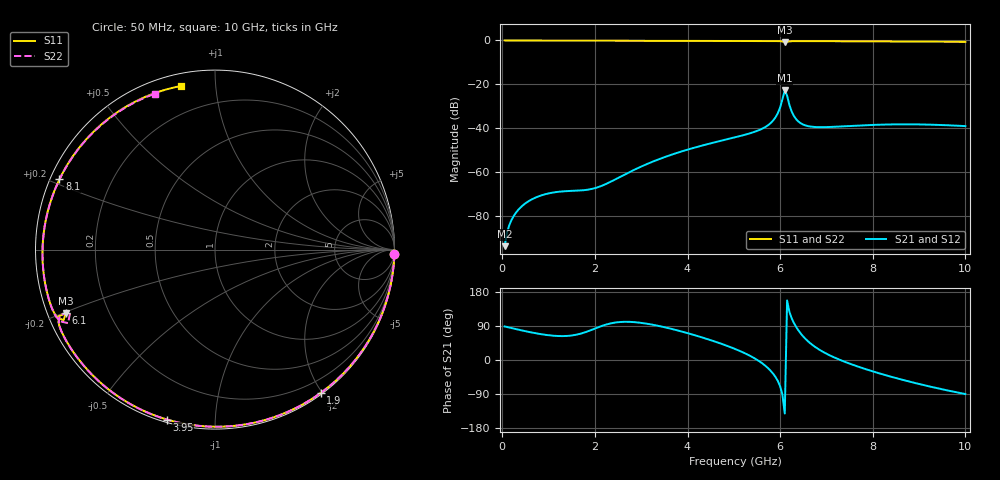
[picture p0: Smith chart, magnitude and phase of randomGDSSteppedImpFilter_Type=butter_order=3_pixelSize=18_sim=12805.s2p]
! freq	dB(S11)	phase(S11)	dB(S12)	phase(S12)
!  dB(S21)	phase(S21)	dB(S22)	phase(S22)
!S-par simulation data
#  GHz  S  DB  R 50
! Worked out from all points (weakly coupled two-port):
!   200 points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, 50 MHz to 10 GHz, reference 50 ohm
!   highest |S21| = -22.75 dB at 6.1 GHz (marker M1); lowest = -93.7 dB at 50 MHz (marker M2)
!   lowest |S11| = -0.9 dB at 6.1 GHz (marker M3), VSWR 19.62, Z = 2.65 - j10.2 ohm
!   |S11| at or under -10 dB: nowhere
!   |S22| runs from -1.1 to 0.0 dB; largest |S21 - S12| = 0
!   S11 on the Smith chart (normalised r, x): 50 MHz: 0, -79; 1.9 GHz: 0.02, -1.98; 3.95 GHz: 0.01, -0.76; 6.1 GHz: 0.05, -0.20; 8.1 GHz: 0.03, +0.22; 10 GHz: 0.06, +0.81
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0.05  -0.00 -1.5  -93.67 88.6  -93.67 88.6  -0.00 -1.5
0.25  -0.01 -7.2  -79.81 82.8  -79.81 82.8  -0.01 -7.4
0.5  -0.02 -14.4  -74.16 76.0  -74.16 76.0  -0.02 -14.8
0.85  -0.03 -24.4  -70.49 67.9  -70.49 67.9  -0.03 -25.0
1.75  -0.06 -49.5  -68.21 71.6  -68.21 71.6  -0.06 -50.6
1.9  -0.07 -53.5  -67.76 78.1  -67.76 78.1  -0.07 -54.7
2.65  -0.09 -73.4  -60.98 100.8  -60.98 100.8  -0.09 -74.7
3.4  -0.12 -92.4  -53.93 89.3  -53.93 89.3  -0.12 -93.7
3.95  -0.14 -105.8  -50.03 72.6  -50.03 72.6  -0.14 -107.0
5.05  -0.19 -131.9  -43.99 28.0  -43.99 28.0  -0.19 -132.3
5.55  -0.23 -143.6  -40.78 -3.3  -40.78 -3.3  -0.22 -143.6
5.8  -0.25 -149.6  -37.52 -29.3  -37.52 -29.3  -0.25 -149.5
5.95  -0.29 -153.6  -33.10 -55.3  -33.10 -55.3  -0.30 -153.5
6.1  -0.89 -156.9  -22.75 -141.2  -22.75 -141.2  -1.13 -156.7
6.15  -0.62 -155.0  -25.13 157.2  -25.13 157.2  -0.77 -153.4
6.25  -0.33 -158.2  -32.42 109.7  -32.42 109.7  -0.36 -156.8
6.35  -0.30 -161.0  -35.97 86.3  -35.97 86.3  -0.31 -159.6
6.7  -0.31 -169.7  -39.32 39.4  -39.32 39.4  -0.31 -167.9
8.1  -0.43 155.7  -38.39 -33.8  -38.39 -33.8  -0.42 160.0
8.35  -0.46 149.1  -38.25 -42.6  -38.25 -42.6  -0.45 154.1
9.25  -0.55 124.2  -38.34 -70.5  -38.34 -70.5  -0.54 131.5
10  -0.62 101.8  -39.00 -89.9  -39.00 -89.9  -0.62 110.9
